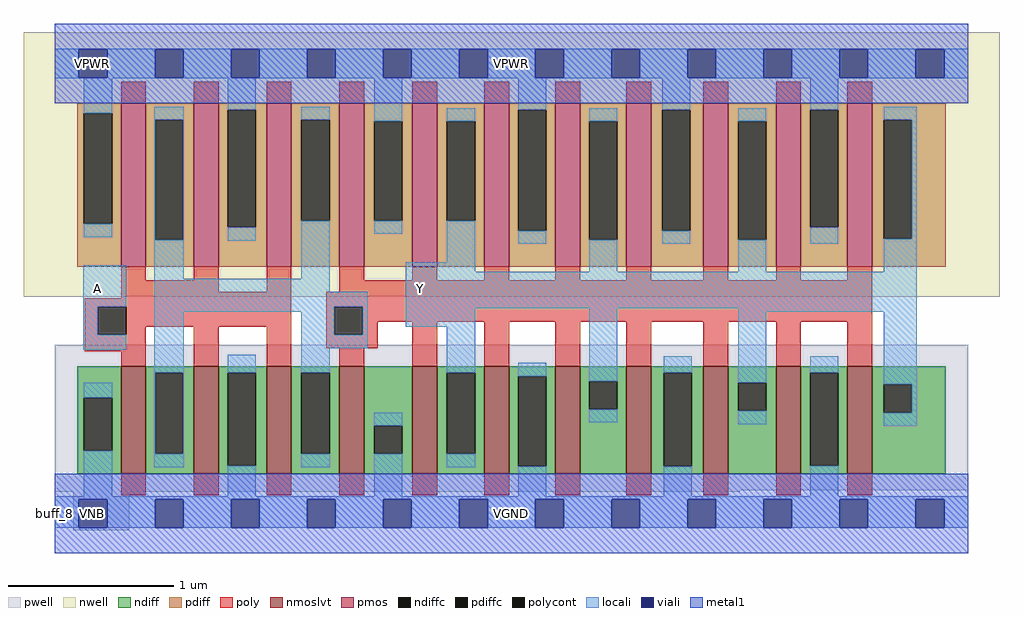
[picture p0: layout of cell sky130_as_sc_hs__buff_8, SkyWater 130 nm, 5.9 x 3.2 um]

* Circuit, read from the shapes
.subckt sky130_as_sc_hs__buff_8 VPB VPWR VGND VNB A Y
XM1 n1 A VGND VNB sky130_fd_pr__nfet_01v8_lvt w=0.65 l=0.15 m=3
XM2 VGND n1 n1 VNB sky130_fd_pr__nfet_01v8_lvt w=0.65 l=0.15
XM3 Y n1 VGND VNB sky130_fd_pr__nfet_01v8_lvt w=0.65 l=0.15 m=7
XM4 n1 A VPWR VPB sky130_fd_pr__pfet_01v8 w=0.99 l=0.15 m=3
XM5 VPWR n1 n1 VPB sky130_fd_pr__pfet_01v8 w=0.99 l=0.15
XM6 Y n1 VPWR VPB sky130_fd_pr__pfet_01v8 w=0.99 l=0.15 m=7
.ends

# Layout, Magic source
magic
tech sky130A
magscale 1 2
<< nwell >>
rect -38 262 1142 582
<< pwell >>
rect 0 28 1104 204
rect 0 26 828 28
rect 22 24 90 26
rect 22 22 110 24
rect 168 22 198 24
rect 256 22 286 24
rect 344 22 374 24
rect 432 22 462 24
rect 519 22 549 24
rect 605 22 635 24
rect 691 22 721 24
rect 784 22 814 24
rect 872 22 902 24
rect 958 22 988 24
rect 22 -20 90 22
<< pmos >>
rect 80 298 110 496
rect 168 298 198 496
rect 256 298 286 496
rect 344 298 374 496
rect 432 298 462 496
rect 519 298 549 496
rect 605 298 635 496
rect 691 298 721 496
rect 784 298 814 496
rect 872 298 902 496
rect 958 298 988 496
<< nmoslvt >>
rect 80 48 110 178
rect 168 48 198 178
rect 256 48 286 178
rect 344 48 374 178
rect 432 48 462 178
rect 519 48 549 178
rect 605 48 635 178
rect 691 48 721 178
rect 784 48 814 178
rect 872 48 902 178
rect 958 48 988 178
<< ndiff >>
rect 27 140 80 178
rect 27 76 35 140
rect 69 76 80 140
rect 27 48 80 76
rect 110 170 168 178
rect 110 72 121 170
rect 155 72 168 170
rect 110 48 168 72
rect 198 170 256 178
rect 198 58 209 170
rect 243 58 256 170
rect 198 48 256 58
rect 286 170 344 178
rect 286 72 298 170
rect 332 72 344 170
rect 286 48 344 72
rect 374 106 432 178
rect 374 72 386 106
rect 420 72 432 106
rect 374 48 432 72
rect 462 170 519 178
rect 462 72 474 170
rect 508 72 519 170
rect 462 48 519 72
rect 549 166 605 178
rect 549 57 560 166
rect 594 57 605 166
rect 549 48 605 57
rect 635 160 691 178
rect 635 126 646 160
rect 680 126 691 160
rect 635 48 691 126
rect 721 170 784 178
rect 721 57 736 170
rect 770 57 784 170
rect 721 48 784 57
rect 814 158 872 178
rect 814 124 826 158
rect 860 124 872 158
rect 814 48 872 124
rect 902 170 958 178
rect 902 58 913 170
rect 947 58 958 170
rect 902 48 958 58
rect 988 156 1077 178
rect 988 122 1002 156
rect 1036 122 1077 156
rect 988 48 1077 122
<< pdiff >>
rect 27 484 80 496
rect 27 350 35 484
rect 69 350 80 484
rect 27 298 80 350
rect 110 476 168 496
rect 110 331 121 476
rect 155 331 168 476
rect 110 298 168 331
rect 198 488 256 496
rect 198 346 209 488
rect 243 346 256 488
rect 198 298 256 346
rect 286 476 344 496
rect 286 354 298 476
rect 332 354 344 476
rect 286 298 344 354
rect 374 474 432 496
rect 374 354 386 474
rect 420 354 432 474
rect 374 298 432 354
rect 462 474 519 496
rect 462 354 474 474
rect 508 354 519 474
rect 462 298 519 354
rect 549 488 605 496
rect 549 342 560 488
rect 594 342 605 488
rect 549 298 605 342
rect 635 474 691 496
rect 635 331 646 474
rect 680 331 691 474
rect 635 298 691 331
rect 721 488 784 496
rect 721 342 734 488
rect 768 342 784 488
rect 721 298 784 342
rect 814 474 872 496
rect 814 331 826 474
rect 860 331 872 474
rect 814 298 872 331
rect 902 488 958 496
rect 902 346 913 488
rect 947 346 958 488
rect 902 298 958 346
rect 988 476 1077 496
rect 988 332 1002 476
rect 1036 332 1077 476
rect 988 298 1077 332
<< ndiffc >>
rect 35 76 69 140
rect 121 72 155 170
rect 209 58 243 170
rect 298 72 332 170
rect 386 72 420 106
rect 474 72 508 170
rect 560 57 594 166
rect 646 126 680 160
rect 736 57 770 170
rect 826 124 860 158
rect 913 58 947 170
rect 1002 122 1036 156
<< pdiffc >>
rect 35 350 69 484
rect 121 331 155 476
rect 209 346 243 488
rect 298 354 332 476
rect 386 354 420 474
rect 474 354 508 474
rect 560 342 594 488
rect 646 331 680 474
rect 734 342 768 488
rect 826 331 860 474
rect 913 346 947 488
rect 1002 332 1036 476
<< poly >>
rect 80 496 110 522
rect 168 496 198 522
rect 256 496 286 522
rect 344 496 374 522
rect 432 496 462 522
rect 519 496 549 522
rect 605 496 635 522
rect 691 496 721 522
rect 784 496 814 522
rect 872 496 902 522
rect 958 496 988 522
rect 80 282 110 298
rect 168 282 198 298
rect 80 268 198 282
rect 256 268 286 298
rect 344 282 374 298
rect 432 282 462 298
rect 519 282 549 298
rect 605 282 635 298
rect 691 282 721 298
rect 784 282 814 298
rect 872 282 902 298
rect 958 282 988 298
rect 344 268 988 282
rect 80 260 286 268
rect 36 250 286 260
rect 36 216 52 250
rect 86 226 286 250
rect 86 216 110 226
rect 36 196 110 216
rect 80 178 110 196
rect 168 178 198 226
rect 256 178 286 226
rect 328 250 988 268
rect 328 216 338 250
rect 372 232 988 250
rect 372 216 390 232
rect 328 200 390 216
rect 344 178 374 200
rect 432 178 462 232
rect 519 178 549 232
rect 605 178 635 232
rect 691 178 721 232
rect 784 178 814 232
rect 872 178 902 232
rect 958 178 988 232
rect 80 22 110 48
rect 168 22 198 48
rect 256 22 286 48
rect 344 22 374 48
rect 432 22 462 48
rect 519 22 549 48
rect 605 22 635 48
rect 691 22 721 48
rect 784 22 814 48
rect 872 22 902 48
rect 958 22 988 48
<< polycont >>
rect 52 216 86 250
rect 338 216 372 250
<< locali >>
rect 0 561 1104 562
rect 0 527 29 561
rect 63 527 121 561
rect 155 527 213 561
rect 247 527 305 561
rect 339 527 397 561
rect 431 527 489 561
rect 523 527 581 561
rect 615 527 673 561
rect 707 527 765 561
rect 799 527 857 561
rect 891 527 949 561
rect 983 527 1041 561
rect 1075 527 1104 561
rect 0 526 1104 527
rect 35 484 69 526
rect 35 334 69 350
rect 120 476 156 492
rect 120 331 121 476
rect 155 331 156 476
rect 34 250 86 300
rect 34 216 52 250
rect 34 198 86 216
rect 120 284 156 331
rect 209 488 243 526
rect 209 330 243 346
rect 298 476 332 492
rect 298 284 332 354
rect 386 474 420 526
rect 386 338 420 354
rect 474 474 508 490
rect 474 304 508 354
rect 560 488 594 526
rect 560 326 594 342
rect 646 474 680 490
rect 120 268 332 284
rect 424 292 508 304
rect 646 292 680 331
rect 734 488 768 526
rect 734 326 768 342
rect 826 474 860 490
rect 826 292 860 331
rect 913 488 947 526
rect 913 326 947 346
rect 1002 476 1042 492
rect 1036 332 1042 476
rect 1002 292 1042 332
rect 120 250 378 268
rect 120 244 338 250
rect 120 170 156 244
rect 298 216 338 244
rect 372 216 378 250
rect 424 248 1042 292
rect 424 226 508 248
rect 298 200 378 216
rect 35 140 69 158
rect 35 21 69 76
rect 120 72 121 170
rect 155 72 156 170
rect 120 56 156 72
rect 209 170 243 192
rect 209 21 243 58
rect 298 170 332 200
rect 474 170 508 226
rect 298 56 332 72
rect 386 106 420 122
rect 386 21 420 72
rect 474 56 508 72
rect 560 166 594 182
rect 646 160 680 248
rect 826 244 1042 248
rect 646 110 680 126
rect 736 170 770 190
rect 560 21 594 57
rect 826 158 860 244
rect 826 108 860 124
rect 913 170 947 190
rect 736 21 770 57
rect 1002 156 1042 244
rect 1036 122 1042 156
rect 1002 106 1042 122
rect 913 21 947 58
rect 0 17 1104 21
rect 0 -17 29 17
rect 63 -17 121 17
rect 155 -17 213 17
rect 247 -17 305 17
rect 339 -17 397 17
rect 431 -17 489 17
rect 523 -17 581 17
rect 615 -17 673 17
rect 707 -17 765 17
rect 799 -17 857 17
rect 891 -17 949 17
rect 983 -17 1041 17
rect 1075 -17 1104 17
<< viali >>
rect 29 527 63 561
rect 121 527 155 561
rect 213 527 247 561
rect 305 527 339 561
rect 397 527 431 561
rect 489 527 523 561
rect 581 527 615 561
rect 673 527 707 561
rect 765 527 799 561
rect 857 527 891 561
rect 949 527 983 561
rect 1041 527 1075 561
rect 29 -17 63 17
rect 121 -17 155 17
rect 213 -17 247 17
rect 305 -17 339 17
rect 397 -17 431 17
rect 489 -17 523 17
rect 581 -17 615 17
rect 673 -17 707 17
rect 765 -17 799 17
rect 857 -17 891 17
rect 949 -17 983 17
rect 1041 -17 1075 17
<< metal1 >>
rect 0 561 1104 592
rect 0 527 29 561
rect 63 527 121 561
rect 155 527 213 561
rect 247 527 305 561
rect 339 527 397 561
rect 431 527 489 561
rect 523 527 581 561
rect 615 527 673 561
rect 707 527 765 561
rect 799 527 857 561
rect 891 527 949 561
rect 983 527 1041 561
rect 1075 527 1104 561
rect 0 496 1104 527
rect 0 17 1104 48
rect 0 -17 29 17
rect 63 -17 121 17
rect 155 -17 213 17
rect 247 -17 305 17
rect 339 -17 397 17
rect 431 -17 489 17
rect 523 -17 581 17
rect 615 -17 673 17
rect 707 -17 765 17
rect 799 -17 857 17
rect 891 -17 949 17
rect 983 -17 1041 17
rect 1075 -17 1104 17
rect 0 -48 1104 -17
<< labels >>
rlabel comment s 0 0 0 0 4 buff_8
flabel pwell s 29 -17 63 17 0 FreeSans 200 0 0 0 VNB
port 4 nsew ground bidirectional
flabel pwell s 46 0 46 0 0 FreeSans 200 0 0 0 VNB
flabel metal1 s 29 527 63 561 0 FreeSans 200 0 0 0 VPWR
port 2 nsew power bidirectional abutment
flabel metal1 s 29 -17 63 17 0 FreeSans 200 0 0 0 VGND
port 3 nsew ground bidirectional abutment
rlabel metal1 s 0 -48 1104 48 1 VGND
port 3 nsew ground bidirectional abutment
rlabel metal1 s 0 496 1104 592 1 VPWR
port 2 nsew power bidirectional abutment
flabel locali s 34 255 68 289 0 FreeSans 200 0 0 0 A
port 5 nsew signal input
flabel locali s 51 272 51 272 0 FreeSans 200 0 0 0 A
flabel locali 425 255 459 289 0 FreeSans 200 0 0 0 Y
port 6 nsew signal output
flabel locali 442 272 442 272 0 FreeSans 200 0 0 0 Y
flabel nwell s 29 527 63 561 0 FreeSans 200 0 0 0 VPB
port 1 nsew power bidirectional
flabel nwell s 46 544 46 544 0 FreeSans 200 0 0 0 VPB
<< properties >>
string FIXED_BBOX 0 0 1104 544
string GDS_FILE $PDKPATH/libs.ref/sky130_as_sc_hs/gds/sky130_as_sc_hs__buff_8.gds
string LEFclass CORE
string LEFsite unithd
string LEFsymmetry X Y R90
string MASKHINTS_LVTN 0 -4 1104 216
string MASKHINTS_NSDM 0 -38 1104 204
string MASKHINTS_PSDM 0 272 1104 582
<< end >>
